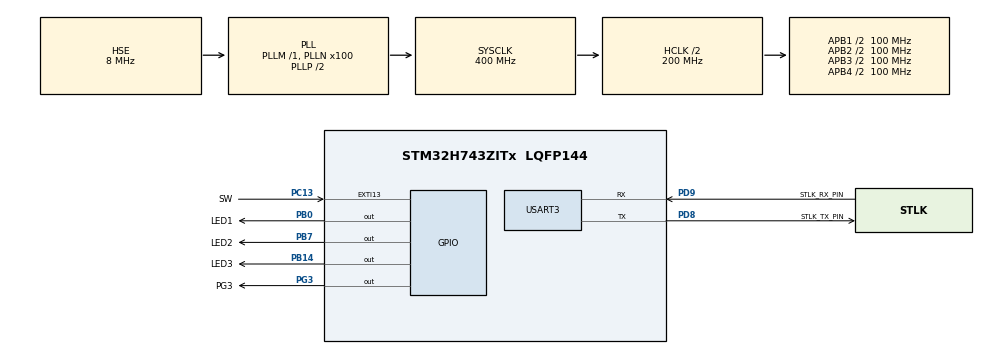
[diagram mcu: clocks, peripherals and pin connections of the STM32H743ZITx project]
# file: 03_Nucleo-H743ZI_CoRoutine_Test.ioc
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FREERTOS.Tasks01=defaultTask,0,128,StartDefaultTask,Default,NULL
FREERTOS.configTOTAL_HEAP_SIZE=76800
FREERTOS.configUSE_COUNTING_SEMAPHORES=1
FREERTOS.configUSE_CO_ROUTINES=1
FREERTOS.configUSE_IDLE_HOOK=1
FREERTOS.configUSE_RECURSIVE_MUTEXES=1
FREERTOS.configUSE_TRACE_FACILITY=1
Mcu.Family=STM32H7
Mcu.Name=STM32H743ZITx
Mcu.Package=LQFP144
NVIC.EXTI15_10_IRQn=true\:5\:0\:false\:false\:true\:true\:true
NVIC.PriorityGroup=NVIC_PRIORITYGROUP_4
NVIC.TIM17_IRQn=true\:0\:0\:false\:false\:true\:false\:false
NVIC.TimeBase=TIM17_IRQn
NVIC.TimeBaseIP=TIM17
PA13\ (JTMS/SWDIO).Mode=Serial_Wire
PA13\ (JTMS/SWDIO).Signal=SYS_JTMS-SWDIO
PA14\ (JTCK/SWCLK).Mode=Serial_Wire
PA14\ (JTCK/SWCLK).Signal=SYS_JTCK-SWCLK
PB0.GPIO_Label=LED1
PB0.GPIO_PuPd=GPIO_PULLUP
PB0.GPIO_Speed=GPIO_SPEED_FREQ_HIGH
PB0.PinState=GPIO_PIN_SET
PB0.Signal=GPIO_Output
PB14.GPIO_Label=LED3
PB14.GPIO_PuPd=GPIO_PULLUP
PB14.GPIO_Speed=GPIO_SPEED_FREQ_HIGH
PB14.PinState=GPIO_PIN_SET
PB14.Signal=GPIO_Output
PB7.GPIO_Label=LED2
PB7.GPIO_ModeDefaultOutputPP=GPIO_MODE_OUTPUT_PP
PB7.GPIO_PuPd=GPIO_PULLUP
PB7.GPIO_Speed=GPIO_SPEED_FREQ_HIGH
PB7.PinState=GPIO_PIN_SET
PB7.Signal=GPIO_Output
PC13.GPIO_Label=SW
PC13.Signal=GPXTI13
PD5.GPIO_PuPd=GPIO_PULLUP
PD5.GPIO_Speed=GPIO_SPEED_FREQ_VERY_HIGH
PD5.Signal=USART2_TX
PD6.GPIO_PuPd=GPIO_PULLUP
PD6.GPIO_Speed=GPIO_SPEED_FREQ_VERY_HIGH
PD6.Signal=USART2_RX
PD8.GPIO_Label=STLK_TX_PIN
PD8.Mode=Asynchronous
PD8.Signal=USART3_TX
PD9.GPIO_Label=STLK_RX_PIN
PD9.Mode=Asynchronous
PD9.Signal=USART3_RX
PG3.GPIO_Label=PG3
PG3.GPIO_PuPd=GPIO_PULLUP
PG3.GPIO_Speed=GPIO_SPEED_FREQ_HIGH
PG3.PinState=GPIO_PIN_SET
PG3.Signal=GPIO_Output
PH0-OSC_IN\ (PH0).Mode=HSE-External-Oscillator
PH0-OSC_IN\ (PH0).Signal=RCC_OSC_IN
PH1-OSC_OUT\ (PH1).Mode=HSE-External-Oscillator
PH1-OSC_OUT\ (PH1).Signal=RCC_OSC_OUT
ProjectManager.HeapSize=0x200
ProjectManager.StackSize=0x400
ProjectManager.TargetToolchain=EWARM V8
RCC.ADCFreq_Value=16125000
RCC.APB1Freq_Value=100000000
RCC.APB2Freq_Value=100000000
RCC.APB3Freq_Value=100000000
RCC.APB4Freq_Value=100000000
RCC.CortexFreq_Value=400000000
RCC.D1PPRE=RCC_APB3_DIV2
RCC.D2PPRE1=RCC_APB1_DIV2
RCC.D2PPRE2=RCC_APB2_DIV2
RCC.D3PPRE=RCC_APB4_DIV2
RCC.DIVM1=1
RCC.DIVN1=100
RCC.HCLKFreq_Value=200000000
RCC.HPRE=RCC_HCLK_DIV2
RCC.HSE_VALUE=8000000
RCC.PLLSourceVirtual=RCC_PLLSOURCE_HSE
RCC.SYSCLKFreq_VALUE=400000000
RCC.SYSCLKSource=RCC_SYSCLKSOURCE_PLLCLK
RCC.Tim1Mul=1
RCC.Tim2Mul=1
RCC.USBCLockSelection=RCC_USBCLKSOURCE_HSI48
RCC.USBFreq_Value=48000000
USART3.VirtualMode-Asynchronous=VM_ASYNC
VP_FREERTOS_VS_ENABLE.Mode=Enabled
VP_SYS_VS_tim17.Mode=TIM17
board=custom

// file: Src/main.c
/* USER CODE BEGIN Header */
/**
  ******************************************************************************
  * @file           : main.c
  * @brief          : Main program body
  ******************************************************************************
  * This notice applies to any and all portions of this file
  * that are not between comment pairs USER CODE BEGIN and
  * USER CODE END. Other portions of this file, whether
  * inserted by the user or by software development tools
  * are owned by their respective copyright owners.
  *
  * Copyright (c) 2019 STMicroelectronics International N.V.
  * All rights reserved.
  *
  * Redistribution and use in source and binary forms, with or without
  * modification, are permitted, provided that the following conditions are met:
  *
  * 1. Redistribution of source code must retain the above copyright notice,
  *    this list of conditions and the following disclaimer.
  * 2. Redistributions in binary form must reproduce the above copyright notice,
  *    this list of conditions and the following disclaimer in the documentation
  *    and/or other materials provided with the distribution.
  * 3. Neither the name of STMicroelectronics nor the names of other
  *    contributors to this software may be used to endorse or promote products
  *    derived from this software without specific written permission.
  * 4. This software, including modifications and/or derivative works of this
  *    software, must execute solely and exclusively on microcontroller or
  *    microprocessor devices manufactured by or for STMicroelectronics.
  * 5. Redistribution and use of this software other than as permitted under
  *    this license is void and will automatically terminate your rights under
  *    this license.
  *
  * THIS SOFTWARE IS PROVIDED BY STMICROELECTRONICS AND CONTRIBUTORS "AS IS"
  * AND ANY EXPRESS, IMPLIED OR STATUTORY WARRANTIES, INCLUDING, BUT NOT
  * LIMITED TO, THE IMPLIED WARRANTIES OF MERCHANTABILITY, FITNESS FOR A
  * PARTICULAR PURPOSE AND NON-INFRINGEMENT OF THIRD PARTY INTELLECTUAL PROPERTY
  * RIGHTS ARE DISCLAIMED TO THE FULLEST EXTENT PERMITTED BY LAW. IN NO EVENT
  * SHALL STMICROELECTRONICS OR CONTRIBUTORS BE LIABLE FOR ANY DIRECT, INDIRECT,
  * INCIDENTAL, SPECIAL, EXEMPLARY, OR CONSEQUENTIAL DAMAGES (INCLUDING, BUT NOT
  * LIMITED TO, PROCUREMENT OF SUBSTITUTE GOODS OR SERVICES; LOSS OF USE, DATA,
  * OR PROFITS; OR BUSINESS INTERRUPTION) HOWEVER CAUSED AND ON ANY THEORY OF
  * LIABILITY, WHETHER IN CONTRACT, STRICT LIABILITY, OR TORT (INCLUDING
  * NEGLIGENCE OR OTHERWISE) ARISING IN ANY WAY OUT OF THE USE OF THIS SOFTWARE,
  * EVEN IF ADVISED OF THE POSSIBILITY OF SUCH DAMAGE.
  *
  ******************************************************************************
  */
/* USER CODE END Header */

#include "main.h"
#include "cmsis_os.h"
#include "usart.h"
#include "gpio.h"

void SystemClock_Config(void);
void MX_FREERTOS_Init(void);

int main(void)
{

  /* MCU Configuration--------------------------------------------------------*/

  /* Reset of all peripherals, Initializes the Flash interface and the Systick. */
  HAL_Init();

  /* Configure the system clock */
  SystemClock_Config();

  /* Initialize all configured peripherals */
  MX_GPIO_Init();
  MX_USART3_UART_Init();
  /* USER CODE BEGIN 2 */
  HAL_GPIO_WritePin( LED1_GPIO_Port, LED1_Pin, GPIO_PIN_RESET );
  HAL_GPIO_WritePin( LED2_GPIO_Port, LED2_Pin, GPIO_PIN_RESET );
  HAL_GPIO_WritePin( LED3_GPIO_Port, LED3_Pin, GPIO_PIN_RESET );
  /* USER CODE END 2 */

  /* Call init function for freertos objects (in freertos.c) */
  MX_FREERTOS_Init();

  /* Start scheduler */
  osKernelStart();

  /* We should never get here as control is now taken by the scheduler */

  /* Infinite loop */
  while (1)
  {

  }
}

void SystemClock_Config(void)
{
  RCC_OscInitTypeDef RCC_OscInitStruct = {0};
  RCC_ClkInitTypeDef RCC_ClkInitStruct = {0};
  RCC_PeriphCLKInitTypeDef PeriphClkInitStruct = {0};

  /**Supply configuration update enable
  */
  MODIFY_REG(PWR->CR3, PWR_CR3_SCUEN, 0);
  /**Configure the main internal regulator output voltage
  */
  __HAL_PWR_VOLTAGESCALING_CONFIG(PWR_REGULATOR_VOLTAGE_SCALE1);

  while ((PWR->D3CR & (PWR_D3CR_VOSRDY)) != PWR_D3CR_VOSRDY)
  {

  }
  /**Initializes the CPU, AHB and APB busses clocks
  */
  RCC_OscInitStruct.OscillatorType = RCC_OSCILLATORTYPE_HSE;
  RCC_OscInitStruct.HSEState = RCC_HSE_ON;
  RCC_OscInitStruct.PLL.PLLState = RCC_PLL_ON;
  RCC_OscInitStruct.PLL.PLLSource = RCC_PLLSOURCE_HSE;
  RCC_OscInitStruct.PLL.PLLM = 1;
  RCC_OscInitStruct.PLL.PLLN = 100;
  RCC_OscInitStruct.PLL.PLLP = 2;
  RCC_OscInitStruct.PLL.PLLQ = 2;
  RCC_OscInitStruct.PLL.PLLR = 2;
  RCC_OscInitStruct.PLL.PLLRGE = RCC_PLL1VCIRANGE_3;
  RCC_OscInitStruct.PLL.PLLVCOSEL = RCC_PLL1VCOWIDE;
  RCC_OscInitStruct.PLL.PLLFRACN = 0;
  if (HAL_RCC_OscConfig(&RCC_OscInitStruct) != HAL_OK)
  {
    Error_Handler();
  }
  /**Initializes the CPU, AHB and APB busses clocks
  */
  RCC_ClkInitStruct.ClockType = RCC_CLOCKTYPE_HCLK|RCC_CLOCKTYPE_SYSCLK
                              |RCC_CLOCKTYPE_PCLK1|RCC_CLOCKTYPE_PCLK2
                              |RCC_CLOCKTYPE_D3PCLK1|RCC_CLOCKTYPE_D1PCLK1;
  RCC_ClkInitStruct.SYSCLKSource = RCC_SYSCLKSOURCE_PLLCLK;
  RCC_ClkInitStruct.SYSCLKDivider = RCC_SYSCLK_DIV1;
  RCC_ClkInitStruct.AHBCLKDivider = RCC_HCLK_DIV2;
  RCC_ClkInitStruct.APB3CLKDivider = RCC_APB3_DIV2;
  RCC_ClkInitStruct.APB1CLKDivider = RCC_APB1_DIV2;
  RCC_ClkInitStruct.APB2CLKDivider = RCC_APB2_DIV2;
  RCC_ClkInitStruct.APB4CLKDivider = RCC_APB4_DIV2;

  if (HAL_RCC_ClockConfig(&RCC_ClkInitStruct, FLASH_LATENCY_2) != HAL_OK)
  {
    Error_Handler();
  }
  PeriphClkInitStruct.PeriphClockSelection = RCC_PERIPHCLK_USART3;
  PeriphClkInitStruct.Usart234578ClockSelection = RCC_USART234578CLKSOURCE_D2PCLK1;
  if (HAL_RCCEx_PeriphCLKConfig(&PeriphClkInitStruct) != HAL_OK)
  {
    Error_Handler();
  }
}

void HAL_TIM_PeriodElapsedCallback(TIM_HandleTypeDef *htim)
{
  if (htim->Instance == TIM17) {
    HAL_IncTick();
  }
}

void Error_Handler(void)
{
}

/************************ (C) COPYRIGHT STMicroelectronics *****END OF FILE****/

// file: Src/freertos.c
/* USER CODE BEGIN Header */
/**
  ******************************************************************************
  * File Name          : freertos.c
  * Description        : Code for freertos applications
  ******************************************************************************
  * This notice applies to any and all portions of this file
  * that are not between comment pairs USER CODE BEGIN and
  * USER CODE END. Other portions of this file, whether
  * inserted by the user or by software development tools
  * are owned by their respective copyright owners.
  *
  * Copyright (c) 2019 STMicroelectronics International N.V.
  * All rights reserved.
  *
  * Redistribution and use in source and binary forms, with or without
  * modification, are permitted, provided that the following conditions are met:
  *
  * 1. Redistribution of source code must retain the above copyright notice,
  *    this list of conditions and the following disclaimer.
  * 2. Redistributions in binary form must reproduce the above copyright notice,
  *    this list of conditions and the following disclaimer in the documentation
  *    and/or other materials provided with the distribution.
  * 3. Neither the name of STMicroelectronics nor the names of other
  *    contributors to this software may be used to endorse or promote products
  *    derived from this software without specific written permission.
  * 4. This software, including modifications and/or derivative works of this
  *    software, must execute solely and exclusively on microcontroller or
  *    microprocessor devices manufactured by or for STMicroelectronics.
  * 5. Redistribution and use of this software other than as permitted under
  *    this license is void and will automatically terminate your rights under
  *    this license.
  *
  * THIS SOFTWARE IS PROVIDED BY STMICROELECTRONICS AND CONTRIBUTORS "AS IS"
  * AND ANY EXPRESS, IMPLIED OR STATUTORY WARRANTIES, INCLUDING, BUT NOT
  * LIMITED TO, THE IMPLIED WARRANTIES OF MERCHANTABILITY, FITNESS FOR A
  * PARTICULAR PURPOSE AND NON-INFRINGEMENT OF THIRD PARTY INTELLECTUAL PROPERTY
  * RIGHTS ARE DISCLAIMED TO THE FULLEST EXTENT PERMITTED BY LAW. IN NO EVENT
  * SHALL STMICROELECTRONICS OR CONTRIBUTORS BE LIABLE FOR ANY DIRECT, INDIRECT,
  * INCIDENTAL, SPECIAL, EXEMPLARY, OR CONSEQUENTIAL DAMAGES (INCLUDING, BUT NOT
  * LIMITED TO, PROCUREMENT OF SUBSTITUTE GOODS OR SERVICES; LOSS OF USE, DATA,
  * OR PROFITS; OR BUSINESS INTERRUPTION) HOWEVER CAUSED AND ON ANY THEORY OF
  * LIABILITY, WHETHER IN CONTRACT, STRICT LIABILITY, OR TORT (INCLUDING
  * NEGLIGENCE OR OTHERWISE) ARISING IN ANY WAY OUT OF THE USE OF THIS SOFTWARE,
  * EVEN IF ADVISED OF THE POSSIBILITY OF SUCH DAMAGE.
  *
  ******************************************************************************
  */
/* USER CODE END Header */

#include "FreeRTOS.h"
#include "task.h"
#include "main.h"
#include "cmsis_os.h"

/* USER CODE BEGIN Includes */
#include "stm32h743xx.h"
#include "gpio.h"
#include "croutine.h"
/* USER CODE END Includes */

/* USER CODE BEGIN PD */
#define	PRIORITY_0				0
#define	NUM_COROUTINES			3
/* USER CODE END PD */

/* USER CODE BEGIN Variables */
const int iFlashRates[ NUM_COROUTINES ] = { 100, 500, 1000 };
const int iLEDToFlash[ NUM_COROUTINES ] = { 0, 1, 2 };

/* USER CODE END Variables */
osThreadId defaultTaskHandle;

void StartDefaultTask(void const * argument);

void MX_FREERTOS_Init(void); /* (MISRA C 2004 rule 8.1) */

/* Hook prototypes */
void vApplicationIdleHook(void);

/* USER CODE BEGIN 2 */
void vApplicationIdleHook( void )
{
    for(;;)
    {
        vCoRoutineSchedule( );
    }
}

void vFlashCoRoutine( xCoRoutineHandle xHandle, unsigned portBASE_TYPE uxIndex)
{
	crSTART( xHandle );
	for( ;; )
	{
		crDELAY( xHandle, iFlashRates[uxIndex] );
		test_Toggle_LED( iLEDToFlash[uxIndex] );
	}
	crEND();
}
/* USER CODE END 2 */

void MX_FREERTOS_Init(void) {
  /* USER CODE BEGIN Init */
	uint8_t	i;
  /* USER CODE END Init */

  /* Create the thread(s) */
  /* definition and creation of defaultTask */
  osThreadDef(defaultTask, StartDefaultTask, osPriorityNormal, 0, 128);
  defaultTaskHandle = osThreadCreate(osThread(defaultTask), NULL);

  /* USER CODE BEGIN RTOS_THREADS */
  /* add threads, ... */
  for( i = 0; i < NUM_COROUTINES; i++ )
  {
  	xCoRoutineCreate( vFlashCoRoutine, PRIORITY_0, i );
  }
  /* USER CODE END RTOS_THREADS */

}

void StartDefaultTask(void const * argument)
{

  for(;;)
  {
    osDelay(1);
  }
}

/************************ (C) COPYRIGHT STMicroelectronics *****END OF FILE****/
